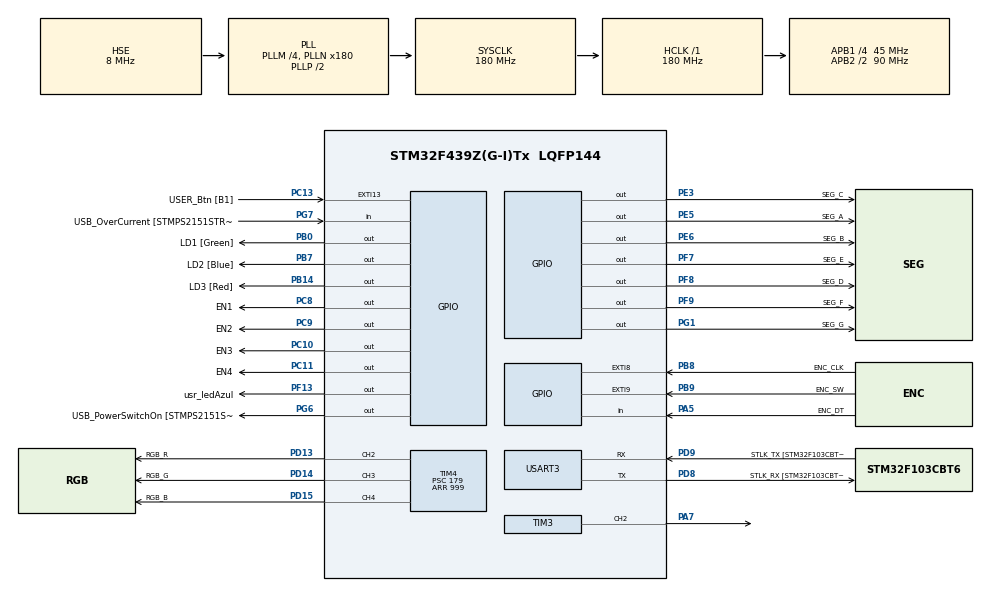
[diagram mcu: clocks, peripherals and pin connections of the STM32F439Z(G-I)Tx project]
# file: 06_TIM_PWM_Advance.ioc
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Mcu.Family=STM32F4
Mcu.Name=STM32F439Z(G-I)Tx
Mcu.Package=LQFP144
NVIC.EXTI15_10_IRQn=true\:0\:0\:false\:false\:true\:true\:true\:true
NVIC.EXTI9_5_IRQn=true\:5\:0\:true\:false\:true\:true\:true\:true
NVIC.PriorityGroup=NVIC_PRIORITYGROUP_4
NVIC.TIM2_IRQn=true\:5\:0\:true\:false\:true\:true\:true\:true
PA13.GPIO_Label=TMS
PA13.Mode=Serial_Wire
PA13.Signal=SYS_JTMS-SWDIO
PA14.GPIO_Label=TCK
PA14.Mode=Serial_Wire
PA14.Signal=SYS_JTCK-SWCLK
PA5.GPIO_Label=ENC_DT
PA5.GPIO_PuPd=GPIO_PULLUP
PA5.Signal=GPIO_Input
PA7.Signal=S_TIM3_CH2
PB0.GPIO_Label=LD1 [Green]
PB0.Signal=GPIO_Output
PB14.GPIO_Label=LD3 [Red]
PB14.Signal=GPIO_Output
PB7.GPIO_Label=LD2 [Blue]
PB7.Signal=GPIO_Output
PB8.GPIO_Label=ENC_CLK
PB8.GPIO_ModeDefaultEXTI=GPIO_MODE_IT_RISING_FALLING
PB8.GPIO_PuPd=GPIO_PULLUP
PB8.Signal=GPXTI8
PB9.GPIO_Label=ENC_SW
PB9.GPIO_ModeDefaultEXTI=GPIO_MODE_IT_FALLING
PB9.GPIO_PuPd=GPIO_PULLUP
PB9.Signal=GPXTI9
PC10.GPIO_Label=EN3
PC10.Signal=GPIO_Output
PC11.GPIO_Label=EN4
PC11.Signal=GPIO_Output
PC13.GPIO_Label=USER_Btn [B1]
PC13.Signal=GPXTI13
PC14/OSC32_IN.Mode=LSE-External-Oscillator
PC14/OSC32_IN.Signal=RCC_OSC32_IN
PC15/OSC32_OUT.Mode=LSE-External-Oscillator
PC15/OSC32_OUT.Signal=RCC_OSC32_OUT
PC8.GPIO_Label=EN1
PC8.Signal=GPIO_Output
PC9.GPIO_Label=EN2
PC9.Signal=GPIO_Output
PD13.GPIO_Label=RGB_R
PD13.Signal=S_TIM4_CH2
PD14.GPIO_Label=RGB_G
PD14.Signal=S_TIM4_CH3
PD15.GPIO_Label=RGB_B
PD15.Signal=S_TIM4_CH4
PD8.GPIO_Label=STLK_RX [STM32F103CBT6_PA3]
PD8.Mode=Asynchronous
PD8.Signal=USART3_TX
PD9.GPIO_Label=STLK_TX [STM32F103CBT6_PA2]
PD9.Mode=Asynchronous
PD9.Signal=USART3_RX
PE3.GPIO_Label=SEG_C
PE3.Signal=GPIO_Output
PE5.GPIO_Label=SEG_A
PE5.Signal=GPIO_Output
PE6.GPIO_Label=SEG_B
PE6.Signal=GPIO_Output
PF13.GPIO_Label=usr_ledAzul
PF13.Signal=GPIO_Output
PF7.GPIO_Label=SEG_E
PF7.Signal=GPIO_Output
PF8.GPIO_Label=SEG_D
PF8.Signal=GPIO_Output
PF9.GPIO_Label=SEG_F
PF9.Signal=GPIO_Output
PG1.GPIO_Label=SEG_G
PG1.Signal=GPIO_Output
PG6.GPIO_Label=USB_PowerSwitchOn [STMPS2151STR_EN]
PG6.Signal=GPIO_Output
PG7.GPIO_Label=USB_OverCurrent [STMPS2151STR_FAULT]
PG7.Signal=GPIO_Input
PH0/OSC_IN.GPIO_Label=MCO [STM32F103CBT6_PA8]
PH0/OSC_IN.Mode=HSE-External-Oscillator
PH0/OSC_IN.Signal=RCC_OSC_IN
PH1/OSC_OUT.Mode=HSE-External-Oscillator
PH1/OSC_OUT.Signal=RCC_OSC_OUT
ProjectManager.HeapSize=0x200
ProjectManager.StackSize=0x400
ProjectManager.TargetToolchain=STM32CubeIDE
RCC.48MHZClocksFreq_Value=51428571.428571425
RCC.AHBFreq_Value=180000000
RCC.APB1CLKDivider=RCC_HCLK_DIV4
RCC.APB1Freq_Value=45000000
RCC.APB1TimFreq_Value=90000000
RCC.APB2CLKDivider=RCC_HCLK_DIV2
RCC.APB2Freq_Value=90000000
RCC.APB2TimFreq_Value=180000000
RCC.CortexFreq_Value=180000000
RCC.HCLKFreq_Value=180000000
RCC.HSE_VALUE=8000000
RCC.HSI_VALUE=16000000
RCC.PLLM=4
RCC.PLLMUL=RCC_PLL_MUL9
RCC.PLLN=180
RCC.PLLQ=7
RCC.PLLSourceVirtual=RCC_PLLSOURCE_HSE
RCC.PRESCALERUSB=RCC_USBCLKSOURCE_PLL_DIV1_5
RCC.SYSCLKFreq_VALUE=180000000
RCC.SYSCLKSource=RCC_SYSCLKSOURCE_PLLCLK
RCC.SYSCLKSourceVirtual=RCC_SYSCLKSOURCE_PLLCLK
RCC.USBFreq_Value=48000000
RCC.VCOOutputFreq_Value=360000000
SH.S_TIM3_CH2.0=TIM3_CH2,PWM Generation2 CH2
SH.S_TIM4_CH2.0=TIM4_CH2,PWM Generation2 CH2
SH.S_TIM4_CH3.0=TIM4_CH3,PWM Generation3 CH3
SH.S_TIM4_CH4.0=TIM4_CH4,PWM Generation4 CH4
TIM2.Period=1999
TIM2.Prescaler=89
TIM3.Channel-PWM\ Generation2\ CH2=TIM_CHANNEL_2
TIM3.Period=19999
TIM3.Prescaler=89
TIM4.Channel-PWM\ Generation2\ CH2=TIM_CHANNEL_2
TIM4.Channel-PWM\ Generation3\ CH3=TIM_CHANNEL_3
TIM4.Channel-PWM\ Generation4\ CH4=TIM_CHANNEL_4
TIM4.Period=999
TIM4.Prescaler=179
USART3.VirtualMode=VM_ASYNC
VP_TIM2_VS_ClockSourceINT.Mode=Internal
VP_TIM3_VS_ClockSourceINT.Mode=Internal
VP_TIM4_VS_ClockSourceINT.Mode=Internal
board=NUCLEO-F439ZI

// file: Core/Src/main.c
/* USER CODE BEGIN Header */
/**
 ******************************************************************************
 * @file           : main.c
 * @brief          : Main program body
 ******************************************************************************
 * @attention
 *
 * Copyright (c) 2026 STMicroelectronics.
 * All rights reserved.
 *
 * This software is licensed under terms that can be found in the LICENSE file
 * in the root directory of this software component.
 * If no LICENSE file comes with this software, it is provided AS-IS.
 *
 ******************************************************************************
 */
/* USER CODE END Header */
#include "main.h"

/* USER CODE BEGIN Includes */
#include "rgb_led.h"
#include "Display_7Seg.h"
#include "encoder_ky040.h"
#include "servo_sg90.h"
#include "stdio.h"
#include "string.h"
/* USER CODE END Includes */

/* USER CODE BEGIN PTD */

/* Estados de colores */
typedef enum {
	ST_RED,
	ST_YELLOW,
	ST_MAGENTA,
	ST_GREEN,
	ST_BLUE,
	ST_NONE
} LED_State_t;
/* USER CODE END PTD */

TIM_HandleTypeDef htim2;
TIM_HandleTypeDef htim3;
TIM_HandleTypeDef htim4;

UART_HandleTypeDef huart3;

/* USER CODE BEGIN PV */
LED_State_t last_led_state = ST_NONE;
LED_State_t current_led_state = ST_NONE;
/* --- Objeto para el Led RGB --- */
rgb_led_t ledRGB;

/* --- Objeto para los display de 7 segmentos --- */
display_7seg_t Display;
uint8_t bufferDisplay[4]; //buffer para la cantidad de displays

/* --- Objeto para el Servo SG90 --- */
Servo_t servo_main;

/* --- Objeto para el Encoder KY-040 --- */
KY040_t encoder_ctrl;

/* Variables de control de la aplicación */
int32_t last_angle = -1; // Para refrescar display solo si cambia

char uart_buf[100];
/* USER CODE END PV */

void SystemClock_Config(void);
static void MX_GPIO_Init(void);
static void MX_USART3_UART_Init(void);
static void MX_TIM2_Init(void);
static void MX_TIM3_Init(void);
static void MX_TIM4_Init(void);
/* USER CODE BEGIN PFP */

/* --- Prototipos de Funciones Auxiliares --- */
void Debug_Log(const char *msg);
void UI_Update_Feedback(int32_t angle);
/* --- Prototipos de Funciones Adaptadoras (Capa de Acoplamiento / PAL) --- */
void	 PAL_STM32_GPIO_Write(generic_gpio_t gpio, bool state);
bool     PAL_STM32_GPIO_Read(generic_gpio_t gpio);
void     PAL_STM32_PWM_Write(generic_pwm_t ch, uint16_t value);
uint32_t PAL_STM32_GetTick(void);

void     PAL_Display_WritePin(display_gpio_t pin, bool state);
bool     PAL_Display_ReadPin(display_gpio_t pin);
uint32_t PAL_Display_GetTick(void);
/* USER CODE END PFP */

/* USER CODE BEGIN 0 */

void Debug_Log(const char *msg) {
	HAL_UART_Transmit(&huart3, (uint8_t*)msg, strlen(msg), 100);
}

/**
 * @brief Gestiona el feedback visual (LED RGB) según la posición del servo.
 * @param angle Ángulo entero actual del sistema.
 */
void UI_Update_Feedback(int32_t angle) {
	// Determinación del estado basada en la posición solicitada
	if (angle == 0)                          current_led_state = ST_RED;
	else if (angle > 0 && angle < 90)        current_led_state = ST_YELLOW;
	else if (angle == 90)                   current_led_state = ST_MAGENTA;
	else if (angle > 90 && angle < 180)      current_led_state = ST_GREEN;
	else if (angle == 180)                  current_led_state = ST_BLUE;
	else                                    current_led_state = ST_NONE;

	// Actualización estática del hardware
	if (current_led_state != last_led_state) {
		last_led_state = current_led_state;

		switch (current_led_state) {
		case ST_RED:     RGB_LED_SetColor(&ledRGB, 1000, 0, 0);     break;
		case ST_YELLOW:  RGB_LED_SetColor(&ledRGB, 1000, 1000, 0);  break;
		case ST_MAGENTA: RGB_LED_SetColor(&ledRGB, 1000, 0, 1000); break;
		case ST_GREEN:   RGB_LED_SetColor(&ledRGB, 0, 1000, 0);   break;
		case ST_BLUE:    RGB_LED_SetColor(&ledRGB, 0, 0, 1000);    break;
		default:         RGB_LED_SetColor(&ledRGB, 0, 0, 0);     break;
		}
	}
}

/* ========================================================================== */
/* ---- IMPLEMENTACIÓN DE ADAPTADORES DE HARDWARE (CONTRATOS PAL) ----------- */
/* ========================================================================== */

/* --- Adaptadores para PAL Universal --- */

void PAL_STM32_GPIO_Write(generic_gpio_t gpio, bool state) {
	HAL_GPIO_WritePin((GPIO_TypeDef*)gpio.port, gpio.pin, state ? GPIO_PIN_SET : GPIO_PIN_RESET);
}

bool PAL_STM32_GPIO_Read(generic_gpio_t gpio) {
	return (HAL_GPIO_ReadPin((GPIO_TypeDef*)gpio.port, gpio.pin) == GPIO_PIN_SET);
}

void PAL_STM32_PWM_Write(generic_pwm_t ch, uint16_t value) {
	__HAL_TIM_SET_COMPARE((TIM_HandleTypeDef*)ch.timer_handle, ch.channel, value);
}

uint32_t PAL_STM32_GetTick(void) {
	return HAL_GetTick();
}

/* --- Adaptadores para PAL del Display de 7 Segmentos --- */
void PAL_Display_WritePin(display_gpio_t pin, bool state) {
	HAL_GPIO_WritePin((GPIO_TypeDef*)pin.port, pin.pin, state ? GPIO_PIN_SET : GPIO_PIN_RESET);
}

bool PAL_Display_ReadPin(display_gpio_t pin) {
	return (HAL_GPIO_ReadPin((GPIO_TypeDef*)pin.port, pin.pin) == GPIO_PIN_SET);
}

uint32_t PAL_Display_GetTick(void) {
	return HAL_GetTick();
}

/* USER CODE END 0 */

int main(void)
{

	/* MCU Configuration--------------------------------------------------------*/

	/* Reset of all peripherals, Initializes the Flash interface and the Systick. */
	HAL_Init();

	/* Configure the system clock */
	SystemClock_Config();

	/* Initialize all configured peripherals */
	MX_GPIO_Init();
	MX_USART3_UART_Init();
	MX_TIM2_Init();
	MX_TIM3_Init();
	MX_TIM4_Init();
	/* USER CODE BEGIN 2 */

	/* --- Log de Bienvenida: Laboratorio 06 --- */
	Debug_Log("\r\n==========================================\r\n");
	Debug_Log("   LABORATORIO 06: PWM AVANZADO  \r\n");
	Debug_Log("   CONTROL DE SERVOMOTOR SG90   \r\n");
	Debug_Log("   Plataforma: STM32 Nucleo-F439ZI        \r\n");
	Debug_Log("==========================================\r\n");
	Debug_Log("[OK] Nucleo Clock: 180 MHz\r\n");
	Debug_Log(">>> Iniciando Perifericos...\r\n");

	// ==========================================================================
	// 0. CONFIGURACIÓN DE LA PAL UNIVERSAL COMPARTIDA
	// ==========================================================================
	hal_interface_t sys_pal = {
			.pwm_write = PAL_STM32_PWM_Write,
			.gpio_read = PAL_STM32_GPIO_Read,
			.get_tick  = PAL_STM32_GetTick
	};

	// ==========================================================================
	// 1. CONFIGURACIÓN DEL SERVO SG90
	// ==========================================================================
	// Descriptor del canal PWM para el Servo (TIM3 Canal 2)
	generic_pwm_t servo_pwm = { .timer_handle = &htim3, .channel = TIM_CHANNEL_2 };

	// Inicialización con inyección de la PAL Universal
	SERVO_SG90_Init(&servo_main, servo_pwm, sys_pal, 520, 2540);

	/* Iniciar hardware del Timer (Específico de la capa de acoplamiento ST) */
	HAL_TIM_PWM_Start(&htim3, TIM_CHANNEL_2);
	Debug_Log("[OK] Periferico TIM3: PWM Servo Listo (Canal 2)\r\n");

	// ==========================================================================
	// 2. CONFIGURACION DEL DISPLAY DE 7 SEGMENTOS
	// ==========================================================================
	static display_gpio_t segmentos[] = {
			{SEG_A_GPIO_Port, SEG_A_Pin}, {SEG_B_GPIO_Port, SEG_B_Pin},
			{SEG_C_GPIO_Port, SEG_C_Pin}, {SEG_D_GPIO_Port, SEG_D_Pin},
			{SEG_E_GPIO_Port, SEG_E_Pin}, {SEG_F_GPIO_Port, SEG_F_Pin},
			{SEG_G_GPIO_Port, SEG_G_Pin}
	};
	static display_gpio_t comunes[] = {
			{EN4_GPIO_Port, EN4_Pin}, {EN3_GPIO_Port, EN3_Pin},
			{EN2_GPIO_Port, EN2_Pin}, {EN1_GPIO_Port, EN1_Pin}
	};

	display_7seg_pal_t display_pal = {
			.write_pin = PAL_Display_WritePin,
			.read_pin  = PAL_Display_ReadPin,
			.get_tick  = PAL_Display_GetTick
	};

	Display7Seg_Init(&Display, display_pal, segmentos, comunes, 4, bufferDisplay, DISPLAY_CATHODE);
	HAL_TIM_Base_Start_IT(&htim2);

	Display7Seg_SetBrightness(&Display, 80);
	Display7Seg_WriteString(&Display, "HOLA");
	HAL_Delay(1000);
	Debug_Log("[OK] Periferico TIM2: Multiplexado Display\r\n");

	// ==========================================================================
	// 3. CONFIGURACION DEL LED RGB
	// ==========================================================================
	generic_pwm_t ch_r = { .timer_handle = &htim4, .channel = TIM_CHANNEL_2 };
	generic_pwm_t ch_g = { .timer_handle = &htim4, .channel = TIM_CHANNEL_3 };
	generic_pwm_t ch_b = { .timer_handle = &htim4, .channel = TIM_CHANNEL_4 };

	// Inyectamos la misma PAL Universal compartida
	RGB_LED_Init(&ledRGB, ch_r, ch_g, ch_b, RGB_ANODE_COMMON, 500, sys_pal);
	RGB_LED_SetColor(&ledRGB, 1000, 0, 0);

	HAL_TIM_PWM_Start(&htim4, TIM_CHANNEL_2);
	HAL_TIM_PWM_Start(&htim4, TIM_CHANNEL_3);
	HAL_TIM_PWM_Start(&htim4, TIM_CHANNEL_4);
	Debug_Log("[OK] Periferico TIM4: PWM RGB Activo\r\n");

	// ==========================================================================
	// 4. CONFIGURACIÓN DEL ENCODER KY-040
	// ==========================================================================
	// Armamos los descriptores de los pines físicos
	generic_gpio_t enc_clk = { .port = ENC_CLK_GPIO_Port, .pin = ENC_CLK_Pin };
	generic_gpio_t enc_dt  = { .port = ENC_DT_GPIO_Port,  .pin = ENC_DT_Pin  };
	generic_gpio_t enc_sw  = { .port = ENC_SW_GPIO_Port,  .pin = ENC_SW_Pin  };

	// Inicialización agnóstica inyectando la PAL Universal
	KY040_Init(&encoder_ctrl, sys_pal, enc_clk, enc_dt, enc_sw, 0, 180);

	// Sincronizamos la posición inicial del servo con el encoder (90 grados)
	SERVO_SG90_SetAngle(&servo_main, encoder_ctrl.position);
	Debug_Log("[OK] Encoder KY-040: Rango 0-180 Configurado\r\n");

	Display7Seg_SetBrightness(&Display, 80);
	Display7Seg_WriteString(&Display, "HI");
	Debug_Log(">>> Sistema listo...\r\n\r\n");

	/* USER CODE END 2 */

	/* Infinite loop */
	while (1)
	{

		/* USER CODE BEGIN 3 */
		// 1. MOTOR: Actualizar posición intermedia del servo (interpolación suave)
		SERVO_SG90_Update(&servo_main);

		// 2. CONTROL: Sincronizar el objetivo del servo con la perilla del encoder
		int32_t target_from_encoder = encoder_ctrl.position;
		SERVO_SG90_SetSpeedAngle(&servo_main, (int)target_from_encoder, 150.0f);

		/* --- 3. FEEDBACK VISUAL 1: LED RGB (Lógica por Segmentos Fijos) --- */

		UI_Update_Feedback((int)servo_main.current_angle);

		// 4. FEEDBACK VISUAL 2: Display de 7 Segmentos
		// Solo actualizamos el display cuando el ángulo entero cambia
		if ((int)servo_main.current_angle != last_angle) {
			last_angle = (int)servo_main.current_angle;
			Display7Seg_WriteNumber(&Display, last_angle);

			// Log opcional para debug en PC
			sprintf(uart_buf, "Angulo: %d | Target: %d\r\n", (int)last_angle, (int)target_from_encoder);
			Debug_Log(uart_buf);
		}

		// 5. ACCIÓN: Botón Reset del Encoder
		if (encoder_ctrl.sw_pressed) {
			encoder_ctrl.position = 90;
			encoder_ctrl.sw_pressed = 0;
			HAL_GPIO_TogglePin(usr_ledAzul_GPIO_Port, usr_ledAzul_Pin);
			Debug_Log(">>> Encoder Reset: 90 Grad\r\n");
		}
	}
	/* USER CODE END 3 */
}

void SystemClock_Config(void)
{
	RCC_OscInitTypeDef RCC_OscInitStruct = {0};
	RCC_ClkInitTypeDef RCC_ClkInitStruct = {0};

	/** Configure the main internal regulator output voltage
	 */
	__HAL_RCC_PWR_CLK_ENABLE();
	__HAL_PWR_VOLTAGESCALING_CONFIG(PWR_REGULATOR_VOLTAGE_SCALE1);

	/** Initializes the RCC Oscillators according to the specified parameters
	 * in the RCC_OscInitTypeDef structure.
	 */
	RCC_OscInitStruct.OscillatorType = RCC_OSCILLATORTYPE_HSE;
	RCC_OscInitStruct.HSEState = RCC_HSE_ON;
	RCC_OscInitStruct.PLL.PLLState = RCC_PLL_ON;
	RCC_OscInitStruct.PLL.PLLSource = RCC_PLLSOURCE_HSE;
	RCC_OscInitStruct.PLL.PLLM = 4;
	RCC_OscInitStruct.PLL.PLLN = 180;
	RCC_OscInitStruct.PLL.PLLP = RCC_PLLP_DIV2;
	RCC_OscInitStruct.PLL.PLLQ = 7;
	if (HAL_RCC_OscConfig(&RCC_OscInitStruct) != HAL_OK)
	{
		Error_Handler();
	}

	/** Activate the Over-Drive mode
	 */
	if (HAL_PWREx_EnableOverDrive() != HAL_OK)
	{
		Error_Handler();
	}

	/** Initializes the CPU, AHB and APB buses clocks
	 */
	RCC_ClkInitStruct.ClockType = RCC_CLOCKTYPE_HCLK|RCC_CLOCKTYPE_SYSCLK
			|RCC_CLOCKTYPE_PCLK1|RCC_CLOCKTYPE_PCLK2;
	RCC_ClkInitStruct.SYSCLKSource = RCC_SYSCLKSOURCE_PLLCLK;
	RCC_ClkInitStruct.AHBCLKDivider = RCC_SYSCLK_DIV1;
	RCC_ClkInitStruct.APB1CLKDivider = RCC_HCLK_DIV4;
	RCC_ClkInitStruct.APB2CLKDivider = RCC_HCLK_DIV2;

	if (HAL_RCC_ClockConfig(&RCC_ClkInitStruct, FLASH_LATENCY_5) != HAL_OK)
	{
		Error_Handler();
	}
}

static void MX_TIM2_Init(void)
{

	TIM_ClockConfigTypeDef sClockSourceConfig = {0};
	TIM_MasterConfigTypeDef sMasterConfig = {0};

	htim2.Instance = TIM2;
	htim2.Init.Prescaler = 89;
	htim2.Init.CounterMode = TIM_COUNTERMODE_UP;
	htim2.Init.Period = 1999;
	htim2.Init.ClockDivision = TIM_CLOCKDIVISION_DIV1;
	htim2.Init.AutoReloadPreload = TIM_AUTORELOAD_PRELOAD_DISABLE;
	if (HAL_TIM_Base_Init(&htim2) != HAL_OK)
	{
		Error_Handler();
	}
	sClockSourceConfig.ClockSource = TIM_CLOCKSOURCE_INTERNAL;
	if (HAL_TIM_ConfigClockSource(&htim2, &sClockSourceConfig) != HAL_OK)
	{
		Error_Handler();
	}
	sMasterConfig.MasterOutputTrigger = TIM_TRGO_RESET;
	sMasterConfig.MasterSlaveMode = TIM_MASTERSLAVEMODE_DISABLE;
	if (HAL_TIMEx_MasterConfigSynchronization(&htim2, &sMasterConfig) != HAL_OK)
	{
		Error_Handler();
	}

}

static void MX_TIM3_Init(void)
{

	TIM_ClockConfigTypeDef sClockSourceConfig = {0};
	TIM_MasterConfigTypeDef sMasterConfig = {0};
	TIM_OC_InitTypeDef sConfigOC = {0};

	htim3.Instance = TIM3;
	htim3.Init.Prescaler = 89;
	htim3.Init.CounterMode = TIM_COUNTERMODE_UP;
	htim3.Init.Period = 19999;
	htim3.Init.ClockDivision = TIM_CLOCKDIVISION_DIV1;
	htim3.Init.AutoReloadPreload = TIM_AUTORELOAD_PRELOAD_DISABLE;
	if (HAL_TIM_Base_Init(&htim3) != HAL_OK)
	{
		Error_Handler();
	}
	sClockSourceConfig.ClockSource = TIM_CLOCKSOURCE_INTERNAL;
	if (HAL_TIM_ConfigClockSource(&htim3, &sClockSourceConfig) != HAL_OK)
	{
		Error_Handler();
	}
	if (HAL_TIM_PWM_Init(&htim3) != HAL_OK)
	{
		Error_Handler();
	}
	sMasterConfig.MasterOutputTrigger = TIM_TRGO_RESET;
	sMasterConfig.MasterSlaveMode = TIM_MASTERSLAVEMODE_DISABLE;
	if (HAL_TIMEx_MasterConfigSynchronization(&htim3, &sMasterConfig) != HAL_OK)
	{
		Error_Handler();
	}
	sConfigOC.OCMode = TIM_OCMODE_PWM1;
	sConfigOC.Pulse = 0;
	sConfigOC.OCPolarity = TIM_OCPOLARITY_HIGH;
	sConfigOC.OCFastMode = TIM_OCFAST_DISABLE;
	if (HAL_TIM_PWM_ConfigChannel(&htim3, &sConfigOC, TIM_CHANNEL_2) != HAL_OK)
	{
		Error_Handler();
	}
	HAL_TIM_MspPostInit(&htim3);

}

static void MX_TIM4_Init(void)
{

	TIM_ClockConfigTypeDef sClockSourceConfig = {0};
	TIM_MasterConfigTypeDef sMasterConfig = {0};
	TIM_OC_InitTypeDef sConfigOC = {0};

	htim4.Instance = TIM4;
	htim4.Init.Prescaler = 179;
	htim4.Init.CounterMode = TIM_COUNTERMODE_UP;
	htim4.Init.Period = 999;
	htim4.Init.ClockDivision = TIM_CLOCKDIVISION_DIV1;
	htim4.Init.AutoReloadPreload = TIM_AUTORELOAD_PRELOAD_DISABLE;
	if (HAL_TIM_Base_Init(&htim4) != HAL_OK)
	{
		Error_Handler();
	}
	sClockSourceConfig.ClockSource = TIM_CLOCKSOURCE_INTERNAL;
	if (HAL_TIM_ConfigClockSource(&htim4, &sClockSourceConfig) != HAL_OK)
	{
		Error_Handler();
	}
	if (HAL_TIM_PWM_Init(&htim4) != HAL_OK)
	{
		Error_Handler();
	}
	sMasterConfig.MasterOutputTrigger = TIM_TRGO_RESET;
	sMasterConfig.MasterSlaveMode = TIM_MASTERSLAVEMODE_DISABLE;
	if (HAL_TIMEx_MasterConfigSynchronization(&htim4, &sMasterConfig) != HAL_OK)
	{
		Error_Handler();
	}
	sConfigOC.OCMode = TIM_OCMODE_PWM1;
	sConfigOC.Pulse = 0;
	sConfigOC.OCPolarity = TIM_OCPOLARITY_HIGH;
	sConfigOC.OCFastMode = TIM_OCFAST_DISABLE;
	if (HAL_TIM_PWM_ConfigChannel(&htim4, &sConfigOC, TIM_CHANNEL_2) != HAL_OK)
	{
		Error_Handler();
	}
	if (HAL_TIM_PWM_ConfigChannel(&htim4, &sConfigOC, TIM_CHANNEL_3) != HAL_OK)
	{
		Error_Handler();
	}
	if (HAL_TIM_PWM_ConfigChannel(&htim4, &sConfigOC, TIM_CHANNEL_4) != HAL_OK)
	{
		Error_Handler();
	}
	HAL_TIM_MspPostInit(&htim4);

}

static void MX_USART3_UART_Init(void)
{

	huart3.Instance = USART3;
	huart3.Init.BaudRate = 115200;
	huart3.Init.WordLength = UART_WORDLENGTH_8B;
	huart3.Init.StopBits = UART_STOPBITS_1;
	huart3.Init.Parity = UART_PARITY_NONE;
	huart3.Init.Mode = UART_MODE_TX_RX;
	huart3.Init.HwFlowCtl = UART_HWCONTROL_NONE;
	huart3.Init.OverSampling = UART_OVERSAMPLING_16;
	if (HAL_UART_Init(&huart3) != HAL_OK)
	{
		Error_Handler();
	}

}

static void MX_GPIO_Init(void)
{
	GPIO_InitTypeDef GPIO_InitStruct = {0};

	/* GPIO Ports Clock Enable */
	__HAL_RCC_GPIOE_CLK_ENABLE();
	__HAL_RCC_GPIOC_CLK_ENABLE();
	__HAL_RCC_GPIOF_CLK_ENABLE();
	__HAL_RCC_GPIOH_CLK_ENABLE();
	__HAL_RCC_GPIOA_CLK_ENABLE();
	__HAL_RCC_GPIOB_CLK_ENABLE();
	__HAL_RCC_GPIOG_CLK_ENABLE();
	__HAL_RCC_GPIOD_CLK_ENABLE();

	/*Configure GPIO pin Output Level */
	HAL_GPIO_WritePin(GPIOE, SEG_C_Pin|SEG_A_Pin|SEG_B_Pin, GPIO_PIN_RESET);

	/*Configure GPIO pin Output Level */
	HAL_GPIO_WritePin(GPIOF, SEG_E_Pin|SEG_D_Pin|SEG_F_Pin|usr_ledAzul_Pin, GPIO_PIN_RESET);

	/*Configure GPIO pin Output Level */
	HAL_GPIO_WritePin(GPIOB, LD1_Pin|LD3_Pin|LD2_Pin, GPIO_PIN_RESET);

	/*Configure GPIO pin Output Level */
	HAL_GPIO_WritePin(GPIOG, SEG_G_Pin|USB_PowerSwitchOn_Pin, GPIO_PIN_RESET);

	/*Configure GPIO pin Output Level */
	HAL_GPIO_WritePin(GPIOC, EN1_Pin|EN2_Pin|EN3_Pin|EN4_Pin, GPIO_PIN_RESET);

	/*Configure GPIO pins : SEG_C_Pin SEG_A_Pin SEG_B_Pin */
	GPIO_InitStruct.Pin = SEG_C_Pin|SEG_A_Pin|SEG_B_Pin;
	GPIO_InitStruct.Mode = GPIO_MODE_OUTPUT_PP;
	GPIO_InitStruct.Pull = GPIO_NOPULL;
	GPIO_InitStruct.Speed = GPIO_SPEED_FREQ_LOW;
	HAL_GPIO_Init(GPIOE, &GPIO_InitStruct);

	/*Configure GPIO pin : USER_Btn_Pin */
	GPIO_InitStruct.Pin = USER_Btn_Pin;
	GPIO_InitStruct.Mode = GPIO_MODE_IT_RISING;
	GPIO_InitStruct.Pull = GPIO_NOPULL;
	HAL_GPIO_Init(USER_Btn_GPIO_Port, &GPIO_InitStruct);

	/*Configure GPIO pins : SEG_E_Pin SEG_D_Pin SEG_F_Pin usr_ledAzul_Pin */
	GPIO_InitStruct.Pin = SEG_E_Pin|SEG_D_Pin|SEG_F_Pin|usr_ledAzul_Pin;
	GPIO_InitStruct.Mode = GPIO_MODE_OUTPUT_PP;
	GPIO_InitStruct.Pull = GPIO_NOPULL;
	GPIO_InitStruct.Speed = GPIO_SPEED_FREQ_LOW;
	HAL_GPIO_Init(GPIOF, &GPIO_InitStruct);

	/*Configure GPIO pin : ENC_DT_Pin */
	GPIO_InitStruct.Pin = ENC_DT_Pin;
	GPIO_InitStruct.Mode = GPIO_MODE_INPUT;
	GPIO_InitStruct.Pull = GPIO_PULLUP;
	HAL_GPIO_Init(ENC_DT_GPIO_Port, &GPIO_InitStruct);

	/*Configure GPIO pins : LD1_Pin LD3_Pin LD2_Pin */
	GPIO_InitStruct.Pin = LD1_Pin|LD3_Pin|LD2_Pin;
	GPIO_InitStruct.Mode = GPIO_MODE_OUTPUT_PP;
	GPIO_InitStruct.Pull = GPIO_NOPULL;
	GPIO_InitStruct.Speed = GPIO_SPEED_FREQ_LOW;
	HAL_GPIO_Init(GPIOB, &GPIO_InitStruct);

	/*Configure GPIO pins : SEG_G_Pin USB_PowerSwitchOn_Pin */
	GPIO_InitStruct.Pin = SEG_G_Pin|USB_PowerSwitchOn_Pin;
	GPIO_InitStruct.Mode = GPIO_MODE_OUTPUT_PP;
	GPIO_InitStruct.Pull = GPIO_NOPULL;
	GPIO_InitStruct.Speed = GPIO_SPEED_FREQ_LOW;
	HAL_GPIO_Init(GPIOG, &GPIO_InitStruct);

	/*Configure GPIO pin : USB_OverCurrent_Pin */
	GPIO_InitStruct.Pin = USB_OverCurrent_Pin;
	GPIO_InitStruct.Mode = GPIO_MODE_INPUT;
	GPIO_InitStruct.Pull = GPIO_NOPULL;
	HAL_GPIO_Init(USB_OverCurrent_GPIO_Port, &GPIO_InitStruct);

	/*Configure GPIO pins : EN1_Pin EN2_Pin EN3_Pin EN4_Pin */
	GPIO_InitStruct.Pin = EN1_Pin|EN2_Pin|EN3_Pin|EN4_Pin;
	GPIO_InitStruct.Mode = GPIO_MODE_OUTPUT_PP;
	GPIO_InitStruct.Pull = GPIO_NOPULL;
	GPIO_InitStruct.Speed = GPIO_SPEED_FREQ_LOW;
	HAL_GPIO_Init(GPIOC, &GPIO_InitStruct);

	/*Configure GPIO pin : ENC_CLK_Pin */
	GPIO_InitStruct.Pin = ENC_CLK_Pin;
	GPIO_InitStruct.Mode = GPIO_MODE_IT_RISING_FALLING;
	GPIO_InitStruct.Pull = GPIO_PULLUP;
	HAL_GPIO_Init(ENC_CLK_GPIO_Port, &GPIO_InitStruct);

	/*Configure GPIO pin : ENC_SW_Pin */
	GPIO_InitStruct.Pin = ENC_SW_Pin;
	GPIO_InitStruct.Mode = GPIO_MODE_IT_FALLING;
	GPIO_InitStruct.Pull = GPIO_PULLUP;
	HAL_GPIO_Init(ENC_SW_GPIO_Port, &GPIO_InitStruct);

	/* EXTI interrupt init*/
	HAL_NVIC_SetPriority(EXTI9_5_IRQn, 5, 0);
	HAL_NVIC_EnableIRQ(EXTI9_5_IRQn);

	HAL_NVIC_SetPriority(EXTI15_10_IRQn, 0, 0);
	HAL_NVIC_EnableIRQ(EXTI15_10_IRQn);

}

/* USER CODE BEGIN 4 */

/**
 * @brief Callback para interrupciones de Timer (Multiplexado del Display)
 */
void HAL_TIM_PeriodElapsedCallback(TIM_HandleTypeDef *htim)
{
	// Verificamos que la interrupción provenga del TIM2 (el del display)
	if (htim->Instance == TIM2)
	{
		// Llamamos a la función de refresco del driver del display
		// Esta función apaga el dígito anterior y enciende el siguiente
		Display7Seg_Refresh_ISR(&Display);
	}
}

/**
 * @brief Callback para interrupciones externas (Giro y Botón del Encoder)
 */
void HAL_GPIO_EXTI_Callback(uint16_t GPIO_Pin)
{
	/* Instanciamos el descriptor genérico para identificar el pin disparado */
	generic_gpio_t triggered_gpio;
	triggered_gpio.pin = GPIO_Pin;

	/* Mapeamos el puerto correcto según el pin físico de la STM32 */
	if (GPIO_Pin == ENC_CLK_Pin)
	{
		triggered_gpio.port = ENC_CLK_GPIO_Port;
		KY040_IRQ_Handler(&encoder_ctrl, triggered_gpio);
	}
	else if (GPIO_Pin == ENC_SW_Pin)
	{
		triggered_gpio.port = ENC_SW_GPIO_Port;
		KY040_IRQ_Handler(&encoder_ctrl, triggered_gpio);
	}

	// Opcional: Si tienes el botón de la placa (USER_Btn_Pin), puedes manejarlo aquí
}

/* USER CODE END 4 */

void Error_Handler(void)
{
	__disable_irq();
	while (1)
	{
	}
}
